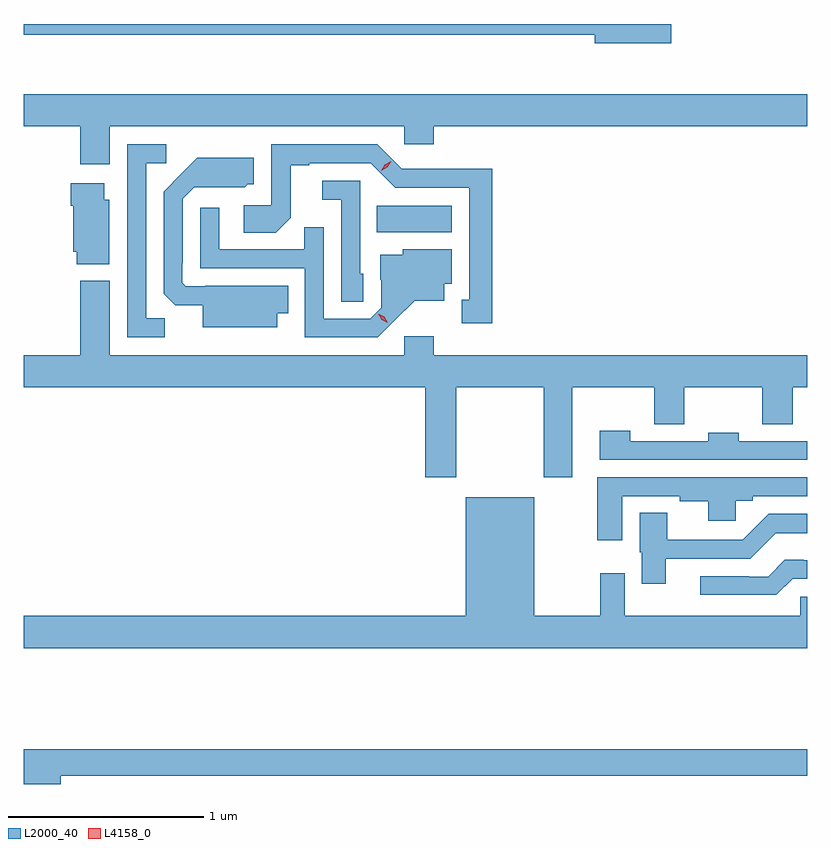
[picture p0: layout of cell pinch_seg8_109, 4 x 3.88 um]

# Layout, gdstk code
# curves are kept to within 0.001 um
import gdstk
lib = gdstk.Library(unit=1e-6, precision=1e-09)
def R(c, l, rs):  # rectangles x0, y0, x1, y1
    for r in rs: c.add(gdstk.rectangle(r[:2], r[2:], *l))
def P(c, l, *ps):  # polygons
    for p in ps: c.add(gdstk.Polygon(p, *l))
L2000_40 = (2000, 40)
L4158_0 = (4158, 0)

pinch_seg8_109 = lib.new_cell('pinch_seg8_109')
R(pinch_seg8_109, L2000_40, [(1033.582,1090.652,1033.966,1090.786)])
P(pinch_seg8_109, L2000_40, [(1035.085,1091.714),(1031.78,1091.714),(1031.78,1091.658),(1034.696,1091.658),(1034.696,1091.615),(1035.085,1091.615)],
  [(1031.78,1091.192),(1032.068,1091.192),(1032.068,1090.998),(1032.22,1090.998),(1032.22,1091.192),(1033.722,1091.192),(1033.722,1091.099),(1033.874,1091.099),(1033.874,1091.192),(1035.78,1091.192),(1035.78,1091.356),(1031.78,1091.356)],
  [(1032.501,1090.211),(1032.405,1090.211),(1032.405,1091.004),(1032.507,1091.004),(1032.507,1091.1),(1032.309,1091.1),(1032.309,1090.116),(1032.501,1090.116)],
  [(1034.173,1090.976),(1033.932,1090.976),(1033.932,1090.974),(1033.71,1090.974),(1033.584,1091.1),(1033.044,1091.1),(1033.044,1090.788),(1032.903,1090.788),(1032.903,1090.648),(1033.067,1090.648),(1033.143,1090.724),(1033.143,1090.992),(1033.237,1090.992),(1033.237,1091.004),(1033.551,1091.004),(1033.677,1090.878),(1034.054,1090.878),(1034.054,1090.305),(1034.015,1090.305),(1034.015,1090.185),(1034.173,1090.185)],
  [(1033.075,1090.238),(1033.13,1090.238),(1033.13,1090.378),(1032.706,1090.378),(1032.706,1090.374),(1032.606,1090.374),(1032.588,1090.392),(1032.588,1090.492),(1032.591,1090.492),(1032.591,1090.821),(1032.651,1090.881),(1032.908,1090.88),(1032.924,1090.896),(1032.955,1090.896),(1032.955,1091.032),(1032.667,1091.032),(1032.495,1090.858),(1032.495,1090.336),(1032.554,1090.277),(1032.695,1090.277),(1032.695,1090.166),(1033.075,1090.166)],
  [(1033.512,1090.44),(1033.497,1090.44),(1033.497,1090.914),(1033.305,1090.914),(1033.305,1090.817),(1033.401,1090.817),(1033.401,1090.297),(1033.512,1090.297)],
  [(1032.217,1090.818),(1032.19,1090.818),(1032.19,1090.9),(1032.02,1090.9),(1032.02,1090.787),(1032.032,1090.787),(1032.032,1090.551),(1032.05,1090.551),(1032.05,1090.487),(1032.217,1090.487)],
  [(1033.672,1090.199),(1033.775,1090.301),(1033.927,1090.301),(1033.927,1090.388),(1033.966,1090.388),(1033.966,1090.564),(1033.716,1090.564),(1033.716,1090.537),(1033.601,1090.537),(1033.601,1090.408),(1033.605,1090.408),(1033.605,1090.266),(1033.548,1090.209),(1033.311,1090.209),(1033.311,1090.676),(1033.213,1090.676),(1033.213,1090.563),(1032.777,1090.563),(1032.777,1090.777),(1032.681,1090.777),(1032.681,1090.467),(1033.215,1090.467),(1033.215,1090.116),(1033.588,1090.116)],
  [(1033.989,1089.86),(1034.434,1089.86),(1034.434,1089.399),(1034.581,1089.399),(1034.581,1089.86),(1034.998,1089.86),(1034.998,1089.67),(1035.153,1089.67),(1035.153,1089.86),(1035.55,1089.86),(1035.55,1089.67),(1035.705,1089.67),(1035.705,1089.86),(1035.78,1089.86),(1035.78,1090.024),(1033.874,1090.024),(1033.874,1090.12),(1033.722,1090.12),(1033.722,1090.024),(1032.22,1090.024),(1032.22,1090.402),(1032.068,1090.402),(1032.068,1090.024),(1031.78,1090.024),(1031.78,1089.86),(1033.829,1089.86),(1033.829,1089.399),(1033.989,1089.399)],
  [(1035.78,1089.585),(1035.429,1089.585),(1035.429,1089.628),(1035.274,1089.628),(1035.274,1089.585),(1034.877,1089.585),(1034.877,1089.637),(1034.721,1089.637),(1034.721,1089.489),(1035.78,1089.489)],
  [(1034.836,1089.303),(1035.129,1089.303),(1035.129,1089.278),(1035.275,1089.278),(1035.275,1089.177),(1035.414,1089.177),(1035.414,1089.279),(1035.501,1089.279),(1035.501,1089.303),(1035.78,1089.303),(1035.78,1089.399),(1034.707,1089.399),(1034.707,1089.078),(1034.836,1089.078)],
  [(1035.78,1088.79),(1035.744,1088.79),(1035.744,1088.692),(1034.848,1088.692),(1034.848,1088.911),(1034.722,1088.911),(1034.722,1088.692),(1034.386,1088.692),(1034.386,1089.298),(1034.036,1089.298),(1034.036,1088.692),(1031.78,1088.692),(1031.78,1088.528),(1035.78,1088.528)],
  [(1035.058,1088.985),(1035.489,1088.985),(1035.618,1089.114),(1035.78,1089.114),(1035.78,1089.214),(1035.584,1089.214),(1035.451,1089.081),(1035.064,1089.081),(1035.064,1089.218),(1034.924,1089.218),(1034.924,1089.018),(1034.936,1089.018),(1034.936,1088.856),(1035.058,1088.856)],
  [(1035.705,1088.883),(1035.78,1088.883),(1035.78,1088.977),(1035.763,1088.977),(1035.763,1088.978),(1035.665,1088.978),(1035.58,1088.892),(1035.482,1088.892),(1035.482,1088.895),(1035.234,1088.895),(1035.234,1088.799),(1035.621,1088.799)],
  [(1031.968,1087.876),(1035.78,1087.876),(1035.78,1088.012),(1031.78,1088.012),(1031.78,1087.834),(1031.968,1087.834)])
P(pinch_seg8_109, L4158_0, [(1033.605,1090.964),(1033.605,1090.964),(1033.623,1090.996),(1033.655,1091.014),(1033.655,1091.014),(1033.655,1091.014),(1033.637,1090.982),(1033.605,1090.964)],
  [(1033.638,1090.19),(1033.608,1090.205),(1033.59,1090.234),(1033.59,1090.235),(1033.591,1090.235),(1033.621,1090.22),(1033.638,1090.19),(1033.638,1090.19)])

lib.write_gds('pinch_seg8_109.gds')
